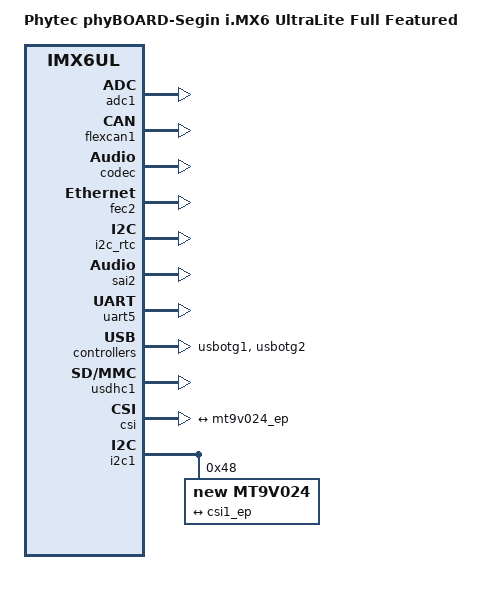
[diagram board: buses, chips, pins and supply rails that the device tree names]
/*
 * Copyright (C) 2017 PHYTEC Messtechnik GmbH
 * Author: Stefan Riedmüller <s.riedmueller@phytec.de>
 *
 * This program is free software; you can redistribute it and/or modify
 * it under the terms of the GNU General Public License version 2 as
 * published by the Free Software Foundation.
 */

/dts-v1/;
#include <dt-bindings/input/input.h>
#include "imx6ul.dtsi"
#include "imx6ul-phytec-phycore-som.dtsi"
#include "imx6ul-phytec-phyboard-segin.dtsi"
#include "imx6ul-phytec-segin-peb-av-02.dtsi"
#include "imx6ul-phytec-segin-peb-eval-01.dtsi"

/ {

	model = "Phytec phyBOARD-Segin i.MX6 UltraLite Full Featured";
	compatible = "phytec,imx6ul-pbacd10", "phytec,imx6ul-pcl063","fsl,imx6ul";
};

&adc1 {
	status = "okay";
};

&flexcan1 {
	status = "okay";
};

&codec {
	status = "okay";
};

&fec2 {
	status = "okay";
};

&i2c_rtc {
	status = "okay";
};

&reg_can1_en {
	status = "okay";
};

&reg_sound_1v8 {
	status = "okay";
};

&reg_sound_3v3 {
	status = "okay";
};

&sai2 {
	status = "okay";
};

&sound {
	status = "okay";
};

&uart5 {
	rs485-rts-active-high;
	linux,rs485-enabled-at-boot-time;
	status = "okay";
};

&usbotg1 {
	status = "okay";
};

&usbotg2 {
	status = "okay";
};

&usdhc1 {
	status = "okay";
};

&csi {
	status = "okay";

	port {
		csi1_ep: endpoint {
			remote-endpoint = <&mt9v024_ep>;
		};
	};
};

&i2c1 {
	mt9v024: mt9v024@48 {
		pinctrl-names = "default";
		pinctrl-0 = <&pinctrl_csi1>;
		clocks = <&clks IMX6UL_CLK_CSI>;
		clock-names = "csi_mclk";
		compatible = "new,mt9v024";
		reg = <0x48>;
		csi_id = <0>;
		status = "okay";
		port {
			mt9v024_ep: endpoint {
				remote-endpoint = <&csi1_ep>;
				is_8_bit_if;
			};
		};
	};
};

&iomuxc {
	imx6ul-phytec-phyboard-segin-ff-rdk {
		pinctrl_csi1: csi1grp {
			fsl,pins = <
				MX6UL_PAD_CSI_MCLK__CSI_MCLK		0x1b088
				MX6UL_PAD_CSI_PIXCLK__CSI_PIXCLK	0x1b088
				MX6UL_PAD_CSI_VSYNC__CSI_VSYNC		0x1b088
				MX6UL_PAD_CSI_HSYNC__CSI_HSYNC		0x1b088
				MX6UL_PAD_CSI_DATA00__CSI_DATA02	0x1b088
				MX6UL_PAD_CSI_DATA01__CSI_DATA03	0x1b088
				MX6UL_PAD_CSI_DATA02__CSI_DATA04	0x1b088
				MX6UL_PAD_CSI_DATA03__CSI_DATA05	0x1b088
				MX6UL_PAD_CSI_DATA04__CSI_DATA06	0x1b088
				MX6UL_PAD_CSI_DATA05__CSI_DATA07	0x1b088
				MX6UL_PAD_CSI_DATA06__CSI_DATA08	0x1b088
				MX6UL_PAD_CSI_DATA07__CSI_DATA09	0x1b088
			>;
		};
	};
};

